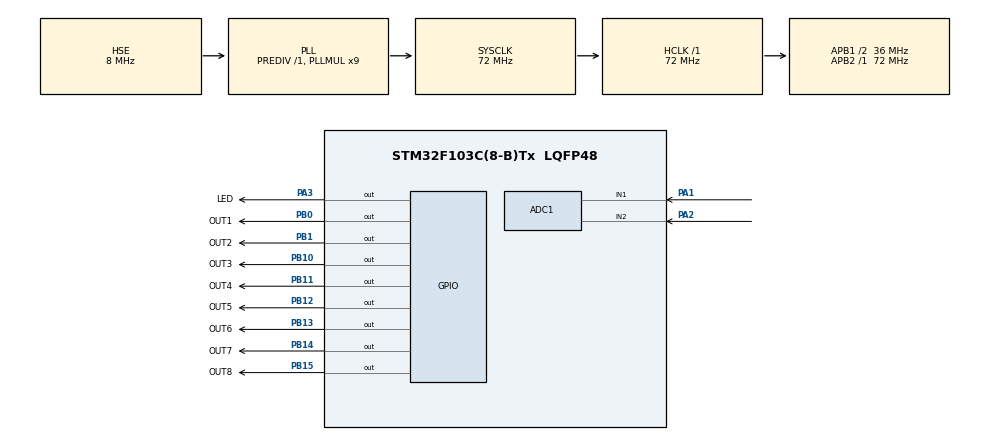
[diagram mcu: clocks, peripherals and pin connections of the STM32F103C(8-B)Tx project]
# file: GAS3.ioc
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ADC1.Channel-0\#ChannelRegularConversion=ADC_CHANNEL_1
ADC1.Channel-1\#ChannelRegularConversion=ADC_CHANNEL_2
ADC1.ContinuousConvMode=ENABLE
ADC1.NbrOfConversion=2
ADC1.NbrOfConversionFlag=1
ADC1.Rank-0\#ChannelRegularConversion=1
ADC1.Rank-1\#ChannelRegularConversion=2
ADC1.SamplingTime-0\#ChannelRegularConversion=ADC_SAMPLETIME_1CYCLE_5
ADC1.SamplingTime-1\#ChannelRegularConversion=ADC_SAMPLETIME_1CYCLE_5
ADC1.master=1
Dma.ADC1.0.Direction=DMA_PERIPH_TO_MEMORY
Dma.ADC1.0.Instance=DMA1_Channel1
Dma.ADC1.0.MemDataAlignment=DMA_MDATAALIGN_WORD
Dma.ADC1.0.MemInc=DMA_MINC_ENABLE
Dma.ADC1.0.Mode=DMA_CIRCULAR
Dma.ADC1.0.PeriphDataAlignment=DMA_PDATAALIGN_WORD
Dma.ADC1.0.PeriphInc=DMA_PINC_DISABLE
Dma.ADC1.0.Priority=DMA_PRIORITY_LOW
Dma.Request0=ADC1
Mcu.Family=STM32F1
Mcu.Name=STM32F103C(8-B)Tx
Mcu.Package=LQFP48
NVIC.ADC1_2_IRQn=true\:0\:0\:false\:false\:true\:true\:true\:true
NVIC.DMA1_Channel1_IRQn=true\:0\:0\:false\:false\:true\:false\:true\:true
NVIC.PriorityGroup=NVIC_PRIORITYGROUP_4
PA1.Signal=ADCx_IN1
PA13.Mode=Serial_Wire
PA13.Signal=SYS_JTMS-SWDIO
PA14.Mode=Serial_Wire
PA14.Signal=SYS_JTCK-SWCLK
PA2.Signal=ADCx_IN2
PA3.GPIO_Label=LED
PA3.Signal=GPIO_Output
PB0.GPIO_Label=OUT1
PB0.Signal=GPIO_Output
PB1.GPIO_Label=OUT2
PB1.Signal=GPIO_Output
PB10.GPIO_Label=OUT3
PB10.Signal=GPIO_Output
PB11.GPIO_Label=OUT4
PB11.Signal=GPIO_Output
PB12.GPIO_Label=OUT5
PB12.Signal=GPIO_Output
PB13.GPIO_Label=OUT6
PB13.Signal=GPIO_Output
PB14.GPIO_Label=OUT7
PB14.Signal=GPIO_Output
PB15.GPIO_Label=OUT8
PB15.Signal=GPIO_Output
PC14-OSC32_IN.Mode=LSE-External-Oscillator
PC14-OSC32_IN.Signal=RCC_OSC32_IN
PC15-OSC32_OUT.Mode=LSE-External-Oscillator
PC15-OSC32_OUT.Signal=RCC_OSC32_OUT
PD0-OSC_IN.Mode=HSE-External-Oscillator
PD0-OSC_IN.Signal=RCC_OSC_IN
PD1-OSC_OUT.Mode=HSE-External-Oscillator
PD1-OSC_OUT.Signal=RCC_OSC_OUT
ProjectManager.HeapSize=0x200
ProjectManager.StackSize=0x400
ProjectManager.TargetToolchain=STM32CubeIDE
RCC.ADCPresc=RCC_ADCPCLK2_DIV6
RCC.AHBFreq_Value=72000000
RCC.APB1CLKDivider=RCC_HCLK_DIV2
RCC.APB1Freq_Value=36000000
RCC.APB1TimFreq_Value=72000000
RCC.APB2Freq_Value=72000000
RCC.APB2TimFreq_Value=72000000
RCC.HCLKFreq_Value=72000000
RCC.PLLMUL=RCC_PLL_MUL9
RCC.PLLSourceVirtual=RCC_PLLSOURCE_HSE
RCC.SYSCLKFreq_VALUE=72000000
RCC.SYSCLKSource=RCC_SYSCLKSOURCE_PLLCLK
RCC.USBFreq_Value=72000000
SH.ADCx_IN1.0=ADC1_IN1,IN1
SH.ADCx_IN2.0=ADC1_IN2,IN2
board=custom

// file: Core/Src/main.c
/* USER CODE BEGIN Header */
/**
 ******************************************************************************
 * @file           : main.c
 * @brief          : Main program body
 ******************************************************************************
 * @attention
 *
 * Copyright (c) 2023 STMicroelectronics.
 * All rights reserved.
 *
 * This software is licensed under terms that can be found in the LICENSE file
 * in the root directory of this software component.
 * If no LICENSE file comes with this software, it is provided AS-IS.
 *
 ******************************************************************************
 */
/* USER CODE END Header */
#include "main.h"
#include "adc.h"
#include "dma.h"
#include "gpio.h"

/* USER CODE BEGIN Includes */
#include "./BSP/OLED/oled.h"
#include "./BSP/SGP30/sgp30.h"
#include "./SYSTEM/delay/delay.h"
#include "math.h"
#include "stdbool.h"
/* USER CODE END Includes */

void SystemClock_Config(void);

/* USER CODE BEGIN 0 */

void setO2(bool value)
{
    HAL_GPIO_WritePin(OUT8_GPIO_Port, OUT8_Pin, value);
}

void setAir(bool value)
{
    HAL_GPIO_WritePin(OUT7_GPIO_Port, OUT7_Pin, value);
}

uint32_t getCO2()
{
    SGP30_Write(0x20, 0x08);
    uint32_t sgp30_dat = SGP30_Read(); // ¶ÁÈ¡SGP30µÄÖµ
    uint32_t CO2Data = (sgp30_dat & 0xffff0000) >> 16; // È¡³öCO2Å¨¶ÈÖµ
    uint32_t TVOCData = sgp30_dat & 0x0000ffff; // È¡³öTVOCÖµ
    return CO2Data;
}

void sgp30Check()
{
    uint32_t sgp30_dat, CO2Data, TVOCData;
    do {
        delay_ms(500);
        SGP30_Write(0x20, 0x08);
        sgp30_dat = SGP30_Read(); // ¶ÁÈ¡SGP30µÄÖµ
        CO2Data = (sgp30_dat & 0xffff0000) >> 16; // È¡³öCO2Å¨¶ÈÖµ
        TVOCData = sgp30_dat & 0x0000ffff; // È¡³öTVOCÖµ
    } while (CO2Data == 400 && TVOCData == 0);
}

void oledSetBkg()
{
    oled_clear();
    oled_show_string(0, 0, "SILU-Tech", 16);
    oled_show_string(0, 16, "CO2:", 16);
    oled_show_string(104, 16, "ppm", 16);
    oled_show_string(0, 16 * 2, "CO:", 16);
    oled_show_string(104, 32, "ppm", 16);
    oled_show_string(0, 16 * 3, "O2:", 16);
    oled_show_string(104 - 8, 48, "%Vol", 16);
    oled_refresh_gram();
}

void bspCheck()
{
    while (1) {
        uint16_t ms = 500;
        HAL_GPIO_WritePin(OUT8_GPIO_Port, OUT8_Pin, GPIO_PIN_RESET);
        HAL_GPIO_WritePin(OUT1_GPIO_Port, OUT1_Pin, GPIO_PIN_SET);
        HAL_Delay(ms);
        HAL_GPIO_WritePin(OUT1_GPIO_Port, OUT1_Pin, GPIO_PIN_RESET);
        HAL_GPIO_WritePin(OUT2_GPIO_Port, OUT2_Pin, GPIO_PIN_SET);
        HAL_Delay(ms);
        HAL_GPIO_WritePin(OUT2_GPIO_Port, OUT2_Pin, GPIO_PIN_RESET);
        HAL_GPIO_WritePin(OUT3_GPIO_Port, OUT3_Pin, GPIO_PIN_SET);
        HAL_Delay(ms);
        HAL_GPIO_WritePin(OUT3_GPIO_Port, OUT3_Pin, GPIO_PIN_RESET);
        HAL_GPIO_WritePin(OUT4_GPIO_Port, OUT4_Pin, GPIO_PIN_SET);
        HAL_Delay(ms);
        HAL_GPIO_WritePin(OUT4_GPIO_Port, OUT4_Pin, GPIO_PIN_RESET);
        HAL_GPIO_WritePin(OUT5_GPIO_Port, OUT5_Pin, GPIO_PIN_SET);
        HAL_Delay(ms);
        HAL_GPIO_WritePin(OUT5_GPIO_Port, OUT5_Pin, GPIO_PIN_RESET);
        HAL_GPIO_WritePin(OUT6_GPIO_Port, OUT6_Pin, GPIO_PIN_SET);
        HAL_Delay(ms);
        HAL_GPIO_WritePin(OUT6_GPIO_Port, OUT6_Pin, GPIO_PIN_RESET);
        HAL_GPIO_WritePin(OUT7_GPIO_Port, OUT7_Pin, GPIO_PIN_SET);
        HAL_Delay(ms);
        HAL_GPIO_WritePin(OUT7_GPIO_Port, OUT7_Pin, GPIO_PIN_RESET);
        HAL_GPIO_WritePin(OUT8_GPIO_Port, OUT8_Pin, GPIO_PIN_SET);
        HAL_Delay(ms);
        HAL_GPIO_TogglePin(LED_GPIO_Port, LED_Pin);
    }
}

static uint32_t getSoftCO2Value()
{
    const uint8_t times = 5;
    uint32_t buf[times];

    for (size_t i = 0; i < 5; i++) {
        buf[i] = getCO2();
    }
    for (size_t i = 0; i < times - 1; i++) {
        for (size_t j = i + 1; j < times; j++) {
            if (buf[i] > buf[j]) {
                uint32_t temp = buf[i];
                buf[i] = buf[j];
                buf[j] = temp;
            }
        }
    }
    uint32_t sum = 0;
    for (size_t i = 1; i < times - 1; i++) {
        sum += buf[i];
    }
    return sum / (times - 2);
}

/* USER CODE END 0 */

int main(void)
{
    /* USER CODE BEGIN 1 */
    const bool kDebugMode = false;
    const uint32_t o2ValueRef = 1201;
    const float coVolRef = 1.17;

    const float R0 = (3.3f - coVolRef) / coVolRef * 10.0f / pow(1.0f / 98.322f, 1.0f / -1.458f);

    /* USER CODE END 1 */

    /* MCU Configuration--------------------------------------------------------*/

    /* Reset of all peripherals, Initializes the Flash interface and the Systick. */
    HAL_Init();

    /* Configure the system clock */
    SystemClock_Config();

    /* Initialize all configured peripherals */
    MX_GPIO_Init();
    MX_DMA_Init();
    MX_ADC1_Init();
    /* USER CODE BEGIN 2 */
    uint32_t ADC_Value[100], coValue, o2Value, CO2Data;
    uint8_t cnt = 0;
    bool isAO_03Fail = false;

    HAL_GPIO_WritePin(LED_GPIO_Port, LED_Pin, GPIO_PIN_SET);
    HAL_ADC_Start_DMA(&hadc1, (uint32_t*)&ADC_Value, 100);

    delay_init(72);
    HAL_Delay(1000);
    oled_init();
    oled_show_string(0, 0, "Loading ...", 16);
    oled_refresh_gram();

    // bspCheck();

    SGP30_Init();
    sgp30Check();

    /* USER CODE END 2 */

    /* Infinite loop */
    /* USER CODE BEGIN WHILE */
    while (true) {
        if (cnt == 0) {
            cnt = 20;
            oledSetBkg();
        }
        cnt--;

        CO2Data = getSoftCO2Value();
        oled_show_num(64, 16, CO2Data, 5, 16);
        if (CO2Data <= 400) {
            oled_show_char(64 + 8, 16, '<', 16, 1);
        }

        coValue = 0;
        o2Value = 0;
        for (size_t i = 0; i < 100; i += 2) {
            coValue += ADC_Value[i];
            o2Value += ADC_Value[i + 1];
        }
        coValue /= 50;
        o2Value /= 50;

        // CO Calc
        float coVol = (float)(coValue)*3.3 / 4096;
        float RS = (3.3f - coVol) / coVol * 10;
        float coPpm = 98.322f * pow(RS / R0, -1.458f);
        if (coPpm < 1) {
            oled_show_string(64 + 8 * 3, 32, "<1", 16);
        } else {
            oled_show_num(64, 32, (uint32_t)(coPpm), 5, 16);
        }

        // O2 Calc
        float o2Vol = (float)(o2Value) / o2ValueRef * 20.9;
        oled_show_num(64, 48, o2Vol, 2, 16);
        oled_show_char(104 - 24, 48, '.', 16, 1);
        oled_show_num(104 - 16, 48, (uint32_t)(o2Vol * 10) % 10, 1, 16);

        bool co2UseAir, coUseAir;
        if (CO2Data >= 1500) {
            HAL_GPIO_WritePin(OUT1_GPIO_Port, OUT1_Pin, 0);
            HAL_GPIO_WritePin(OUT2_GPIO_Port, OUT2_Pin, 1);
            co2UseAir = true;
        } else if (CO2Data >= 1000) {
            HAL_GPIO_WritePin(OUT1_GPIO_Port, OUT1_Pin, 1);
            HAL_GPIO_WritePin(OUT2_GPIO_Port, OUT2_Pin, 0);
            co2UseAir = false;
        } else {
            HAL_GPIO_WritePin(OUT1_GPIO_Port, OUT1_Pin, 0);
            HAL_GPIO_WritePin(OUT2_GPIO_Port, OUT2_Pin, 0);
            co2UseAir = false;
        }
        if (coPpm >= 20) {
            HAL_GPIO_WritePin(OUT3_GPIO_Port, OUT3_Pin, 0);
            HAL_GPIO_WritePin(OUT4_GPIO_Port, OUT4_Pin, 1);
            coUseAir = true;
        } else if (coPpm >= 10) {
            HAL_GPIO_WritePin(OUT3_GPIO_Port, OUT3_Pin, 1);
            HAL_GPIO_WritePin(OUT4_GPIO_Port, OUT4_Pin, 0);
            coUseAir = false;
        } else {
            HAL_GPIO_WritePin(OUT3_GPIO_Port, OUT3_Pin, 0);
            HAL_GPIO_WritePin(OUT4_GPIO_Port, OUT4_Pin, 0);
            coUseAir = false;
        }
        setAir(co2UseAir || coUseAir);

        if (isAO_03Fail) {
            oled_show_string(64, 48, "*20.9", 16);
            HAL_GPIO_WritePin(OUT5_GPIO_Port, OUT5_Pin, 0);
            HAL_GPIO_WritePin(OUT6_GPIO_Port, OUT6_Pin, 0);
            setO2(false);
        } else {
            if (o2Vol < 2.0) {
                isAO_03Fail = true;
            } else if (o2Vol < 17.0) {
                HAL_GPIO_WritePin(OUT5_GPIO_Port, OUT5_Pin, 0);
                HAL_GPIO_WritePin(OUT6_GPIO_Port, OUT6_Pin, 1);
                setO2(true);
            } else if (o2Vol < 19.0) {
                HAL_GPIO_WritePin(OUT5_GPIO_Port, OUT5_Pin, 1);
                HAL_GPIO_WritePin(OUT6_GPIO_Port, OUT6_Pin, 0);
                setO2(false);
            } else {
                HAL_GPIO_WritePin(OUT5_GPIO_Port, OUT5_Pin, 0);
                HAL_GPIO_WritePin(OUT6_GPIO_Port, OUT6_Pin, 0);
                setO2(false);
            }
        }

        if (kDebugMode) {
            oled_show_num(0, 32, coVol * 100, 5, 16);
            oled_show_num(0, 48, o2Value, 5, 16);
        }

        oled_refresh_gram();
        HAL_Delay(500);
        /* USER CODE END WHILE */

    }
}

void SystemClock_Config(void)
{
    RCC_OscInitTypeDef RCC_OscInitStruct = { 0 };
    RCC_ClkInitTypeDef RCC_ClkInitStruct = { 0 };
    RCC_PeriphCLKInitTypeDef PeriphClkInit = { 0 };

    /** Initializes the RCC Oscillators according to the specified parameters
     * in the RCC_OscInitTypeDef structure.
     */
    RCC_OscInitStruct.OscillatorType = RCC_OSCILLATORTYPE_HSE;
    RCC_OscInitStruct.HSEState = RCC_HSE_ON;
    RCC_OscInitStruct.HSEPredivValue = RCC_HSE_PREDIV_DIV1;
    RCC_OscInitStruct.HSIState = RCC_HSI_ON;
    RCC_OscInitStruct.PLL.PLLState = RCC_PLL_ON;
    RCC_OscInitStruct.PLL.PLLSource = RCC_PLLSOURCE_HSE;
    RCC_OscInitStruct.PLL.PLLMUL = RCC_PLL_MUL9;
    if (HAL_RCC_OscConfig(&RCC_OscInitStruct) != HAL_OK) {
        Error_Handler();
    }

    /** Initializes the CPU, AHB and APB buses clocks
     */
    RCC_ClkInitStruct.ClockType = RCC_CLOCKTYPE_HCLK | RCC_CLOCKTYPE_SYSCLK
        | RCC_CLOCKTYPE_PCLK1 | RCC_CLOCKTYPE_PCLK2;
    RCC_ClkInitStruct.SYSCLKSource = RCC_SYSCLKSOURCE_PLLCLK;
    RCC_ClkInitStruct.AHBCLKDivider = RCC_SYSCLK_DIV1;
    RCC_ClkInitStruct.APB1CLKDivider = RCC_HCLK_DIV2;
    RCC_ClkInitStruct.APB2CLKDivider = RCC_HCLK_DIV1;

    if (HAL_RCC_ClockConfig(&RCC_ClkInitStruct, FLASH_LATENCY_2) != HAL_OK) {
        Error_Handler();
    }
    PeriphClkInit.PeriphClockSelection = RCC_PERIPHCLK_ADC;
    PeriphClkInit.AdcClockSelection = RCC_ADCPCLK2_DIV6;
    if (HAL_RCCEx_PeriphCLKConfig(&PeriphClkInit) != HAL_OK) {
        Error_Handler();
    }
}

void Error_Handler(void)
{
    __disable_irq();
    while (1) {
    }
}

#ifdef USE_FULL_ASSERT
/**
 * @brief  Reports the name of the source file and the source line number
 *         where the assert_param error has occurred.
 * @param  file: pointer to the source file name
 * @param  line: assert_param error line source number
 * @retval None
 */
void assert_failed(uint8_t* file, uint32_t line)
{
    /* USER CODE BEGIN 6 */
    /* User can add his own implementation to report the file name and line
       number, ex: printf("Wrong parameters value: file %s on line %d\r\n", file,
       line) */
    /* USER CODE END 6 */
}
#endif /* USE_FULL_ASSERT */
